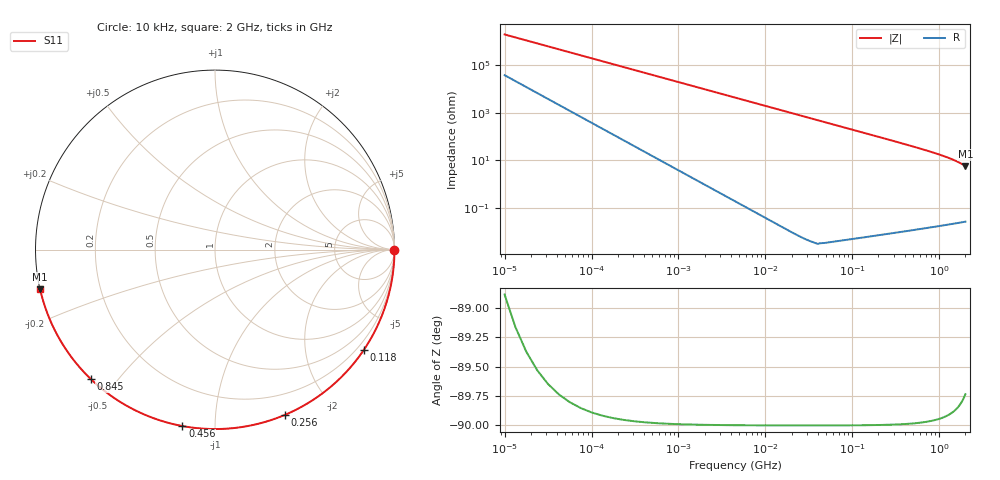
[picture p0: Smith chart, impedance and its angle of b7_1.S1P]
!Generated from: C:\Users\nkfzm\OneDrive - University of Missouri\Desktop\Research\PowerSI\Board 7\b7_1.spd
! Port1_ic_port_1::pwr
!Layout Workbench Version: 24.1.0.10141.541387  000
!Computer Host Name: RS29JQCX3
!TouchstoneFormatFlag = 1
! GNDNET gnd
! NETSLIST
#	Hz	S	RI	R	50
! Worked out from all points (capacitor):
!   585 points, 10 kHz to 2 GHz, reference 50 ohm
!   read as one part to ground: C = 8.2 pF near 17.78 kHz
!   lowest |Z| = 5.63 ohm at 2 GHz (marker M1)
!   S11 on the Smith chart (normalised r, x): 10 kHz: open; 118 MHz: 0.00, -3.28; 256 MHz: 0.00, -1.51; 456 MHz: 0.00, -0.83; 845 MHz: 0.00, -0.43; 2 GHz: 0.00, -0.11
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10000  1 -5.15e-05
2.8e7  0.9896 -0.1436
5.6e7  0.9592 -0.2829
8.6e7  0.9062 -0.4228
1.18e8  0.8302 -0.5574
1.52e8  0.7328 -0.6804
1.84e8  0.6306 -0.776
2.18e8  0.5165 -0.8562
2.52e8  0.4011 -0.9159
2.56e8  0.3876 -0.9217
2.78e8  0.3143 -0.9492
3e8  0.2429 -0.9699
3.46e8  0.1017 -0.9946
4e8  -0.0471 -0.9987
4.56e8  -0.1811 -0.9832
5.05e8  -0.2823 -0.959
5.65e8  -0.3878 -0.9214
6.25e8  -0.4759 -0.8791
6.9e8  -0.5551 -0.8313
7.55e8  -0.6205 -0.7836
8.45e8  -0.6932 -0.72
9.2e8  -0.7415 -0.6701
1.005e9  -0.7859 -0.6173
1.125e9  -0.8346 -0.5497
1.255e9  -0.8739 -0.4847
1.505e9  -0.9244 -0.3792
1.755e9  -0.9551 -0.2932
2e9  -0.9739 -0.2222
